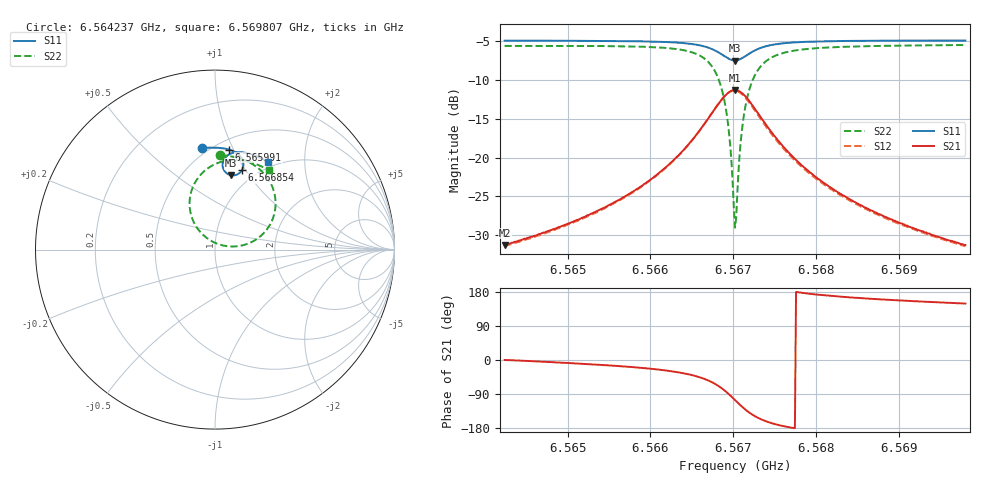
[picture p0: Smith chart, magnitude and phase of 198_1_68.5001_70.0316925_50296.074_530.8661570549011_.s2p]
#  HZ  S  RI  R  50.00
! Rohde & Schwarz Vector Network Analyzer
! Rohde-Schwarz,ZNB20-2Port,1311601062101988,3.16
! Created: UTC 3/20/2024, 4:57:23 PM
! freq[Hz]  re:S11  im:S11  re:S21  im:S21  re:S12  im:S12  re:S22  im:S22
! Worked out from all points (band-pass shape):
!   401 points, 6.564237 GHz to 6.569807 GHz, reference 50 ohm
!   highest |S21| = -11.27 dB at 6.567022 GHz (marker M1); lowest = -31.3 dB at 6.564237 GHz (marker M2)
!   |S21| within 3 dB of the highest: 6.566742 GHz to 6.5673 GHz (558.6 kHz wide, 0.00851 % of centre)
!   lowest |S11| = -7.5 dB at 6.567022 GHz (marker M3), VSWR 2.47, Z = 40.8 + j41.3 ohm
!   |S11| at or under -10 dB: nowhere
!   |S22| runs from -29.0 to -5.5 dB; largest |S21 - S12| = 0.013
!   S11 on the Smith chart (normalised r, x): 6.564237 GHz: 0.46, +0.77; 6.565991 GHz: 0.59, +0.96; 6.566854 GHz: 0.85, +0.96; 6.569807 GHz: 0.92, +1.33
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6.5642365e9  -0.0719 0.5647  0.0273 -5.42e-05  0.0269 -0.000417  0.0281 0.5259
6.5651695e9  0.00418 0.5681  0.0403 -0.00693  0.0395 -0.00752  0.1155 0.5137
6.5659911e9  0.0797 0.5567  0.066 -0.0279  0.0649 -0.0287  0.2189 0.4699
6.5661025e9  0.0914 0.5528  0.0719 -0.0344  0.0707 -0.0351  0.2372 0.4569
6.5664088e9  0.1261 0.5339  0.0925 -0.0658  0.091 -0.0671  0.2958 0.3945
6.5666316e9  0.1515 0.5034  0.1063 -0.119  0.1038 -0.1213  0.3352 0.2917
6.566757e9  0.1584 0.4728  0.0987 -0.1725  0.0945 -0.1757  0.3277 0.1895
6.5668544e9  0.1499 0.4421  0.0667 -0.2251  0.0592 -0.2281  0.2706 0.0908
6.5668962e9  0.1398 0.4294  0.0409 -0.2462  0.0318 -0.2481  0.2235 0.0527
6.566938e9  0.1252 0.4192  0.00725 -0.262  -0.00335 -0.2619  0.1619 0.0257
6.5669658e9  0.1134 0.4151  -0.0187 -0.2676  -0.0299 -0.2658  0.115 0.0177
6.5670076e9  0.094 0.4137  -0.0601 -0.2664  -0.0717 -0.2615  0.0414 0.0236
6.5670215e9  0.0876 0.4147  -0.0738 -0.2632  -0.0851 -0.2575  0.0174 0.0308
6.5670494e9  0.0751 0.4191  -0.1001 -0.2532  -0.1103 -0.2453  -0.0272 0.0521
6.5670912e9  0.0594 0.4302  -0.1334 -0.2293  -0.1414 -0.2194  -0.082 0.0981
6.5671329e9  0.0487 0.4449  -0.1571 -0.1994  -0.1623 -0.1885  -0.1186 0.1535
6.5671886e9  0.0424 0.4659  -0.1737 -0.1575  -0.1756 -0.1468  -0.1399 0.2285
6.5672583e9  0.0447 0.4895  -0.1762 -0.1115  -0.1754 -0.1023  -0.1359 0.309
6.5675089e9  0.083 0.5329  -0.1336 -0.0248  -0.1307 -0.021  -0.0388 0.4535
6.5679545e9  0.1435 0.5428  -0.078 0.00828  -0.0761 0.00946  0.0895 0.4987
6.5688875e9  0.2291 0.5212  -0.0378 0.0146  -0.0369 0.015  0.2192 0.4798
6.5698065e9  0.2964 0.488  -0.0234 0.0142  -0.0229 0.0141  0.2981 0.4425
